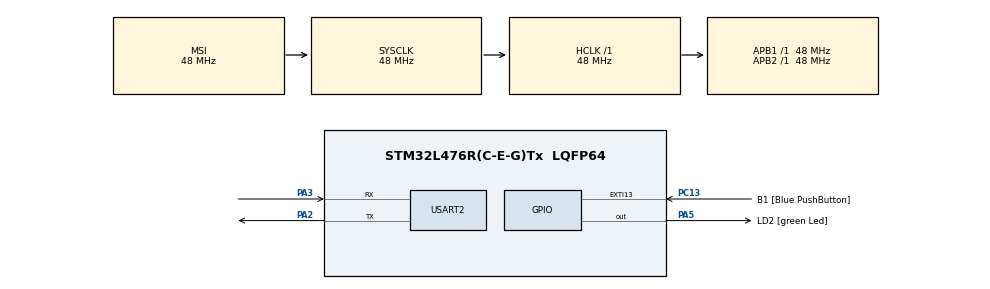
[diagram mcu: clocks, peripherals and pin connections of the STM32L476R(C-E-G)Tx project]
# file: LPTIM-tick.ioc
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FREERTOS.INCLUDE_vTaskDelayUntil=1
FREERTOS.Tasks01=mainTask,0,256,mainOsTask,Default,NULL,Dynamic,NULL,NULL
FREERTOS.Timers01=ledTimer,ledTimerCallback,osTimerPeriodic,Default,NULL,Dynamic,NULL;resultsTimer,resultsTimerCallback,osTimerPeriodic,Default,NULL,Dynamic,NULL
FREERTOS.configCHECK_FOR_STACK_OVERFLOW=2
FREERTOS.configTIMER_TASK_PRIORITY=6
FREERTOS.configUSE_MALLOC_FAILED_HOOK=1
FREERTOS.configUSE_TICKLESS_IDLE=2
FREERTOS.configUSE_TICK_HOOK=1
FREERTOS.configUSE_TIMERS=1
Mcu.Family=STM32L4
Mcu.Name=STM32L476R(C-E-G)Tx
Mcu.Package=LQFP64
NVIC.EXTI15_10_IRQn=true\:15\:0\:true\:false\:true\:true\:true\:true\:true
NVIC.LPTIM2_IRQn=true\:15\:0\:true\:false\:true\:true\:true\:true\:true
NVIC.PriorityGroup=NVIC_PRIORITYGROUP_4
NVIC.TIM1_TRG_COM_TIM17_IRQn=true\:0\:0\:false\:false\:true\:false\:false\:true\:true
NVIC.TimeBase=TIM1_TRG_COM_TIM17_IRQn
NVIC.TimeBaseIP=TIM17
NVIC.USART2_IRQn=true\:15\:0\:true\:false\:true\:true\:true\:true\:true
PA13\ (JTMS-SWDIO).GPIO_Label=TMS
PA13\ (JTMS-SWDIO).Mode=Serial_Wire
PA13\ (JTMS-SWDIO).Signal=SYS_JTMS-SWDIO
PA14\ (JTCK-SWCLK).GPIO_Label=TCK
PA14\ (JTCK-SWCLK).Mode=Serial_Wire
PA14\ (JTCK-SWCLK).Signal=SYS_JTCK-SWCLK
PA2.Mode=Asynchronous
PA2.Signal=USART2_TX
PA3.Mode=Asynchronous
PA3.Signal=USART2_RX
PA5.GPIO_Label=LD2 [green Led]
PA5.GPIO_ModeDefaultOutputPP=GPIO_MODE_OUTPUT_PP
PA5.GPIO_PuPd=GPIO_NOPULL
PA5.GPIO_Speed=GPIO_SPEED_FREQ_LOW
PA5.Signal=GPIO_Output
PB3\ (JTDO-TRACESWO).GPIO_Label=SWO
PB3\ (JTDO-TRACESWO).Signal=SYS_JTDO-SWO
PC13.GPIO_Label=B1 [Blue PushButton]
PC13.GPIO_ModeDefaultEXTI=GPIO_MODE_IT_FALLING
PC13.GPIO_PuPd=GPIO_NOPULL
PC13.Signal=GPXTI13
PC14-OSC32_IN\ (PC14).Mode=LSE-External-Oscillator
PC14-OSC32_IN\ (PC14).Signal=RCC_OSC32_IN
PC15-OSC32_OUT\ (PC15).Mode=LSE-External-Oscillator
PC15-OSC32_OUT\ (PC15).Signal=RCC_OSC32_OUT
PH0-OSC_IN\ (PH0).Signal=RCC_OSC_IN
PH1-OSC_OUT\ (PH1).Signal=RCC_OSC_OUT
ProjectManager.HeapSize=0x200
ProjectManager.StackSize=0x400
ProjectManager.TargetToolchain=STM32CubeIDE
RCC.ADCFreq_Value=64000000
RCC.AHBFreq_Value=48000000
RCC.APB1Freq_Value=48000000
RCC.APB1TimFreq_Value=48000000
RCC.APB2Freq_Value=48000000
RCC.APB2TimFreq_Value=48000000
RCC.CortexFreq_Value=48000000
RCC.HCLKFreq_Value=48000000
RCC.HSE_VALUE=8000000
RCC.HSI_VALUE=16000000
RCC.LPTIM1CLockSelection=RCC_LPTIM1CLKSOURCE_LSE
RCC.LPTIM2CLockSelection=RCC_LPTIM2CLKSOURCE_LSE
RCC.MSIClockRange=RCC_MSIRANGE_11
RCC.MSI_VALUE=48000000
RCC.PLLN=10
RCC.PLLSourceVirtual=RCC_PLLSOURCE_HSI
RCC.PREFETCH_ENABLE=1
RCC.RTCClockSelection=RCC_RTCCLKSOURCE_LSE
RCC.SYSCLKFreq_VALUE=48000000
RCC.USART2CLockSelection=RCC_USART2CLKSOURCE_HSI
RCC.USBFreq_Value=64000000
RCC.VCOOutputFreq_Value=160000000
RTC.AsynchPrediv=3
RTC.SynchPrediv=8191
USART2.VirtualMode-Asynchronous=VM_ASYNC
VP_FREERTOS_VS_CMSIS_V1.Mode=CMSIS_V1
VP_LPTIM2_VS_LPTIM_counterModeInternalClock.Mode=Counts__internal_clock_event_00
VP_RTC_VS_RTC_Activate.Mode=RTC_Enabled
VP_SYS_VS_tim17.Mode=TIM17
board=NUCLEO-L476RG

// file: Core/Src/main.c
/* USER CODE BEGIN Header */
/**
  ******************************************************************************
  * @file           : main.c
  * @brief          : Main program body
  ******************************************************************************
  * @attention
  *
  * <h2><center>&copy; Copyright (c) 2021 STMicroelectronics.
  * All rights reserved.</center></h2>
  *
  * This software component is licensed by ST under BSD 3-Clause license,
  * the "License"; You may not use this file except in compliance with the
  * License. You may obtain a copy of the License at:
  *                        opensource.org/licenses/BSD-3-Clause
  *
  ******************************************************************************
  */
/* USER CODE END Header */
#include "main.h"
#include "cmsis_os.h"

/* USER CODE BEGIN Includes */

#include <stdio.h>
#include <string.h>
#include "testTickTiming.h"
#include "ulp.h"

/* USER CODE END Includes */

/* USER CODE BEGIN PD */
#define NOTIFICATION_FLAG_B1_PIN    (1UL << 0)
#define NOTIFICATION_FLAG_LED_BLIP  (1UL << 1)
#define NOTIFICATION_FLAG_RESULTS   (1UL << 2)
/* USER CODE END PD */

LPTIM_HandleTypeDef hlptim2;

RTC_HandleTypeDef hrtc;

UART_HandleTypeDef huart2;

osThreadId mainTaskHandle;
osTimerId ledTimerHandle;
osTimerId resultsTimerHandle;

void SystemClock_Config(void);
static void MX_GPIO_Init(void);
static void MX_USART2_UART_Init(void);
static void MX_RTC_Init(void);
static void MX_LPTIM2_Init(void);
void mainOsTask(void const * argument);
void ledTimerCallback(void const * argument);
void resultsTimerCallback(void const * argument);

/* USER CODE BEGIN 0 */
#define DEMO_STATE_TEST_1  0
#define DEMO_STATE_TEST_2  1
#define DEMO_STATE_TEST_3  2
#define MAX_DEMO_STATE     DEMO_STATE_TEST_3
static void vSetDemoState( BaseType_t state )
{
   //      Assume for now that we're activating a demo state that doesn't need LPTIM2, our stress-test actor.
   //
   if (LPTIM2->CR & LPTIM_CR_ENABLE)
   {
      HAL_LPTIM_Counter_Stop_IT(&hlptim2);
      vUlpOnPeripheralsInactive(ulpPERIPHERAL_LPTIM2);
   }

   uint32_t ledIntervalMs = 0;
   if (state == DEMO_STATE_TEST_1)
   {
      //      Demonstrate minimum energy consumption.  With configUSE_TICKLESS_IDLE == 2 (lptimTick.c), we
      // draw only 2uA, with RTC, and with FreeRTOS timers/timeouts/delays active.
      //
      ledIntervalMs = 5000UL;
      vTttSetEvalInterval( portMAX_DELAY );
      osTimerStop(resultsTimerHandle);
   }
   else if (state == DEMO_STATE_TEST_2)
   {
      //      Instruct the tick-timing test to sample the tick timing every 10 milliseconds.  Sampling faster
      // would require that we open the pass/fail criteria to accommodate a couple hundred microseconds of
      // jitter or tick "jump" since that criteria is expressed as a percentage of the sampling interval.
      // Sampling much slower might allow large jitter or "jump" that should be caught as an error, again
      // because jitter is measured as a percentage of the sampling interval.
      //
      #define TICK_TEST_SAMPLING_INTERVAL_MS 10

      //      Demonstrate energy consumption waking every 10ms, and test the tick timing.
      //
      ledIntervalMs = 2000UL;
      vTttSetEvalInterval( pdMS_TO_TICKS(TICK_TEST_SAMPLING_INTERVAL_MS) );
      osTimerStart(resultsTimerHandle, 1000UL);
   }
   else if (state == DEMO_STATE_TEST_3)
   {
      //      In state 2, add an actor to stress the tick timing.  Use LPTIM2 interrupts since that timer
      // keeps operating in STOP 1 mode, which allows us to keep demonstrating low-power operation.
      //
      //      Carefully select the interval of the nuisance interrupts to be slightly longer than the tick-
      // test sampling interval.  The sampling interval drives the "expected idle time" in the tickless logic,
      // so a nuisance interval slightly longer ensures lots of different interrupt timing, including some
      // tickless periods lasting the full expected idle time.  For example, with a 10ms sampling interval,
      // there are 327.68 LSE cycles between samplings, on average.  The code below would set up the nuisance
      // interrupt to be every 328 LSE cycles for that case.  (The value passed to the HAL is 327, but the
      // period ends up being 328 due to LPTIM reload behavior.)
      //
      //      Based on the discussion above, a good long soak test is strongly recommended here.
      //
      vUlpOnPeripheralsActive(ulpPERIPHERAL_LPTIM2);
      HAL_LPTIM_Counter_Start_IT(&hlptim2, (TICK_TEST_SAMPLING_INTERVAL_MS * LSE_VALUE) / 1000U);

      ledIntervalMs = 1000UL;
      vTttSetEvalInterval( pdMS_TO_TICKS(TICK_TEST_SAMPLING_INTERVAL_MS) );
      osTimerStart(resultsTimerHandle, 1000UL);
   }
   else
   {
      configASSERT(0);
   }

   if (ledIntervalMs != 0)
   {
      osTimerStart(ledTimerHandle, ledIntervalMs);
      xTaskNotify(mainTaskHandle, NOTIFICATION_FLAG_LED_BLIP, eSetBits);
   }

   char banner[100];
   int len = sprintf(banner, "\r\n\r\nRunning Test %d.", (int)state + 1);
   if (state != DEMO_STATE_TEST_1)
   {
      len += sprintf(&banner[len], "  Jumps are shown as %% of %d ms.\r\n",
                     TICK_TEST_SAMPLING_INTERVAL_MS);
   }
   HAL_UART_Transmit(&huart2, (uint8_t*)banner, len, HAL_MAX_DELAY);
}

static int lDescribeTickTestResults(TttResults_t* results, int periodNumber, char* dest)
{
   int durationSeconds = (results->durationSs + results->subsecondsPerSecond/2) / results->subsecondsPerSecond;
   return (sprintf(dest, "Period %d: %d s, drift: %d/%d s, jump: %+d%% (min), %+d%% (max)",
                   periodNumber,
                   durationSeconds,
                   (int)results->driftSs, (int) results->subsecondsPerSecond,
                   results->minDriftRatePct,
                   results->maxDriftRatePct));
}

static BaseType_t xUpdateResults( int xDemoState )
{
   static int resultsCount = 0;

   TttResults_t complete, inProgress;
   vTttGetResults(&complete, &inProgress);

   //      Build the results text here.  Use a "large" buffer because the results might require two lines of
   // terminal output.  The buffer is static so its contents remain valid even after we return from this
   // function.  In turn this allows us to return to our caller without waiting for the UART to finish.
   //
   static char textResults[200];
   static const char* const eraseLine = "\r\x1B[K";
   int resultsLen = sprintf(textResults, "%s", eraseLine);

   if (resultsCount != complete.resultsCounter)
   {
      resultsCount = complete.resultsCounter;
      if (resultsCount != 0)
      {
         resultsLen += lDescribeTickTestResults(&complete, resultsCount, &textResults[resultsLen]);
         resultsLen += sprintf(&textResults[resultsLen], "\r\n");
      }
   }

   resultsLen += lDescribeTickTestResults(&inProgress, resultsCount + 1, &textResults[resultsLen]);

   //      Send the results to the terminal.  In test 3, use interrupt-driven I/O with the terminal as
   // a way to enhance the stress test.  The interrupts induce a rapid sequence of early wake-ups from
   // tickless idle (if enabled).  This barrage of early wake-ups is a great stress test for the tickless
   // logic.  In the other demo states, use busy-wait I/O to avoid adding a test actor when we don't want one.
   //
   if (xDemoState == DEMO_STATE_TEST_3)
   {
      vUlpOnPeripheralsActive(ulpPERIPHERAL_USART2);
      HAL_UART_Transmit_IT(&huart2, (uint8_t*)textResults, resultsLen);
   }
   else
   {
      //      Because busy-wait I/O keeps this task "ready", it also prevents tickless idle, so we don't need
      // to bother notifying the ULP driver that the UART peripheral is active.
      //
      // vUlpOnPeripheralsActive(ulpPERIPHERAL_USART2);
      HAL_UART_Transmit(&huart2, (uint8_t*)textResults, resultsLen, HAL_MAX_DELAY);
      // vUlpOnPeripheralsInactive(ulpPERIPHERAL_USART2);
   }

   //      Apply some pass/fail criteria and report any failures.
   //
   BaseType_t isFailure = pdFALSE;
   if (inProgress.minDriftRatePct < -2 || inProgress.maxDriftRatePct > 2)
   {
      isFailure = pdTRUE;
   }

   return (isFailure);
}

void HAL_UART_TxCpltCallback(UART_HandleTypeDef *huart)
{
   vUlpOnPeripheralsInactiveFromISR(ulpPERIPHERAL_USART2);
}

void vBlipLed( uint32_t ms )
{
   HAL_GPIO_WritePin(LD2_GPIO_Port, LD2_Pin, GPIO_PIN_SET);
   osDelay(ms);
   HAL_GPIO_WritePin(LD2_GPIO_Port, LD2_Pin, GPIO_PIN_RESET);
}
/* USER CODE END 0 */

int main(void)
{

  /* MCU Configuration--------------------------------------------------------*/

  /* Reset of all peripherals, Initializes the Flash interface and the Systick. */
  HAL_Init();

  /* USER CODE BEGIN Init */

  //      Compensate for a CubeMX omission in HAL_InitTick() in stm32l4xx_hal_timebase_tim.c.
  //
  uwTickPrio = TICK_INT_PRIORITY;

  /* USER CODE END Init */

  /* Configure the system clock */
  SystemClock_Config();

  /* USER CODE BEGIN SysInit */

  // Integrate lptimTick.c -- Start of Block
  //
  //      Code in lptimTick.c expects LSE or LSI to be configured and started by the application code.  This
  // RCC code starts the LSE, but it is commented out because this demo application uses the RTC, so CubeMX
  // already generates the code we need to start LSE.  See SystemClock_Config().
  //
  //  RCC_OscInitTypeDef RCC_OscInitStruct = {0};
  //  RCC_OscInitStruct.OscillatorType = RCC_OSCILLATORTYPE_LSE;
  //  RCC_OscInitStruct.LSEState = RCC_LSE_ON;
  //  RCC_OscInitStruct.PLL.PLLState = RCC_PLL_NONE;
  //  if (HAL_RCC_OscConfig(&RCC_OscInitStruct) != HAL_OK)
  //  {
  //    Error_Handler();
  //  }
  //
  // Integrate lptimTick.c -- End of Block

  //      Initialize Ultra-Low Power support (ULP).
  //
  vUlpInit();

  #if (configUSE_TICKLESS_IDLE != 2)
  {
    //      The tick-timing tests make more accurate evaluations of the tick timing when FreeRTOS has the best
    // possible value in configCPU_CLOCK_HZ.  Since CubeMX defines that symbol as SystemCoreClock, we update
    // SystemCoreClock here.  This code helped us "prove" that the MSI PLL behaves like a real PLL (albeit a
    // very jittery one).  There's "no" tick drift as measured by the RTC when tickless idle is disabled and
    // the MSI is in PLL mode driving the core clock.
    //
    //      We don't care if the HAL reverts this change at some point later during the application execution.
    // We only want this updated value to endure long enough for FreeRTOS startup code to use it to calculate
    // the tick timing.
    //
    if (RCC->CR & RCC_CR_MSIPLLEN)  // App Specific.  Assumes MSIPLLEN being set means MSI is the core clock.
    {
      int pllModeMultiplier = ( SystemCoreClock + (LSE_VALUE/2) ) / LSE_VALUE;
      SystemCoreClock = LSE_VALUE * pllModeMultiplier;
    }
  }
  #endif

  /* USER CODE END SysInit */

  /* Initialize all configured peripherals */
  MX_GPIO_Init();
  MX_USART2_UART_Init();
  MX_RTC_Init();
  MX_LPTIM2_Init();
  /* USER CODE BEGIN 2 */

  //      If the user is currently holding the blue button down, clear DBGMCU->CR.  This step prevents the
  // debugger from keeping clocks and regulators running when we use a low-power mode.  This in turn allows
  // the user to observe the "true" impact of low-power modes on current consumption.  Note that the debugger
  // will lose its connection as soon as we use a low-power mode, but we don't have any choice if we want to
  // see "true" current consumption.
  //
  if ( HAL_GPIO_ReadPin(B1_GPIO_Port, B1_Pin) == GPIO_PIN_RESET )
  {
     DBGMCU->CR = 0; // POR and BOR also clear this register, but not the reset pin, and not other resets.
  }

  /* USER CODE END 2 */

  /* Create the timer(s) */
  /* definition and creation of ledTimer */
  osTimerDef(ledTimer, ledTimerCallback);
  ledTimerHandle = osTimerCreate(osTimer(ledTimer), osTimerPeriodic, NULL);

  /* definition and creation of resultsTimer */
  osTimerDef(resultsTimer, resultsTimerCallback);
  resultsTimerHandle = osTimerCreate(osTimer(resultsTimer), osTimerPeriodic, NULL);

  /* Create the thread(s) */
  /* definition and creation of mainTask */
  osThreadDef(mainTask, mainOsTask, osPriorityNormal, 0, 256);
  mainTaskHandle = osThreadCreate(osThread(mainTask), NULL);

  /* USER CODE BEGIN RTOS_THREADS */

  osThreadDef(tickTest, vTttOsTask, osPriorityAboveNormal, 0, configMINIMAL_STACK_SIZE);
  osThreadCreate(osThread(tickTest), &hrtc);

  /* USER CODE END RTOS_THREADS */

  /* Start scheduler */
  osKernelStart();

  /* We should never get here as control is now taken by the scheduler */

  /* Infinite loop */
  while (1)
  {

  }
}

void SystemClock_Config(void)
{
  RCC_OscInitTypeDef RCC_OscInitStruct = {0};
  RCC_ClkInitTypeDef RCC_ClkInitStruct = {0};

  /** Configure the main internal regulator output voltage
  */
  if (HAL_PWREx_ControlVoltageScaling(PWR_REGULATOR_VOLTAGE_SCALE1) != HAL_OK)
  {
    Error_Handler();
  }

  /** Configure LSE Drive Capability
  */
  HAL_PWR_EnableBkUpAccess();
  __HAL_RCC_LSEDRIVE_CONFIG(RCC_LSEDRIVE_LOW);

  /** Initializes the RCC Oscillators according to the specified parameters
  * in the RCC_OscInitTypeDef structure.
  */
  RCC_OscInitStruct.OscillatorType = RCC_OSCILLATORTYPE_HSI|RCC_OSCILLATORTYPE_LSE
                              |RCC_OSCILLATORTYPE_MSI;
  RCC_OscInitStruct.LSEState = RCC_LSE_ON;
  RCC_OscInitStruct.HSIState = RCC_HSI_ON;
  RCC_OscInitStruct.HSICalibrationValue = RCC_HSICALIBRATION_DEFAULT;
  RCC_OscInitStruct.MSIState = RCC_MSI_ON;
  RCC_OscInitStruct.MSICalibrationValue = 0;
  RCC_OscInitStruct.MSIClockRange = RCC_MSIRANGE_11;
  RCC_OscInitStruct.PLL.PLLState = RCC_PLL_NONE;
  if (HAL_RCC_OscConfig(&RCC_OscInitStruct) != HAL_OK)
  {
    Error_Handler();
  }

  /** Initializes the CPU, AHB and APB buses clocks
  */
  RCC_ClkInitStruct.ClockType = RCC_CLOCKTYPE_HCLK|RCC_CLOCKTYPE_SYSCLK
                              |RCC_CLOCKTYPE_PCLK1|RCC_CLOCKTYPE_PCLK2;
  RCC_ClkInitStruct.SYSCLKSource = RCC_SYSCLKSOURCE_MSI;
  RCC_ClkInitStruct.AHBCLKDivider = RCC_SYSCLK_DIV1;
  RCC_ClkInitStruct.APB1CLKDivider = RCC_HCLK_DIV1;
  RCC_ClkInitStruct.APB2CLKDivider = RCC_HCLK_DIV1;

  if (HAL_RCC_ClockConfig(&RCC_ClkInitStruct, FLASH_LATENCY_2) != HAL_OK)
  {
    Error_Handler();
  }

  /** Enable MSI Auto calibration
  */
  HAL_RCCEx_EnableMSIPLLMode();
}

static void MX_LPTIM2_Init(void)
{

  hlptim2.Instance = LPTIM2;
  hlptim2.Init.Clock.Source = LPTIM_CLOCKSOURCE_APBCLOCK_LPOSC;
  hlptim2.Init.Clock.Prescaler = LPTIM_PRESCALER_DIV1;
  hlptim2.Init.Trigger.Source = LPTIM_TRIGSOURCE_SOFTWARE;
  hlptim2.Init.OutputPolarity = LPTIM_OUTPUTPOLARITY_HIGH;
  hlptim2.Init.UpdateMode = LPTIM_UPDATE_IMMEDIATE;
  hlptim2.Init.CounterSource = LPTIM_COUNTERSOURCE_INTERNAL;
  hlptim2.Init.Input1Source = LPTIM_INPUT1SOURCE_GPIO;
  hlptim2.Init.Input2Source = LPTIM_INPUT2SOURCE_GPIO;
  if (HAL_LPTIM_Init(&hlptim2) != HAL_OK)
  {
    Error_Handler();
  }

}

static void MX_RTC_Init(void)
{

  /** Initialize RTC Only
  */
  hrtc.Instance = RTC;
  hrtc.Init.HourFormat = RTC_HOURFORMAT_24;
  hrtc.Init.AsynchPrediv = 3;
  hrtc.Init.SynchPrediv = 8191;
  hrtc.Init.OutPut = RTC_OUTPUT_DISABLE;
  hrtc.Init.OutPutRemap = RTC_OUTPUT_REMAP_NONE;
  hrtc.Init.OutPutPolarity = RTC_OUTPUT_POLARITY_HIGH;
  hrtc.Init.OutPutType = RTC_OUTPUT_TYPE_OPENDRAIN;
  if (HAL_RTC_Init(&hrtc) != HAL_OK)
  {
    Error_Handler();
  }

}

static void MX_USART2_UART_Init(void)
{

  huart2.Instance = USART2;
  huart2.Init.BaudRate = 115200;
  huart2.Init.WordLength = UART_WORDLENGTH_8B;
  huart2.Init.StopBits = UART_STOPBITS_1;
  huart2.Init.Parity = UART_PARITY_NONE;
  huart2.Init.Mode = UART_MODE_TX_RX;
  huart2.Init.HwFlowCtl = UART_HWCONTROL_NONE;
  huart2.Init.OverSampling = UART_OVERSAMPLING_16;
  huart2.Init.OneBitSampling = UART_ONE_BIT_SAMPLE_DISABLE;
  huart2.AdvancedInit.AdvFeatureInit = UART_ADVFEATURE_NO_INIT;
  if (HAL_UART_Init(&huart2) != HAL_OK)
  {
    Error_Handler();
  }

}

static void MX_GPIO_Init(void)
{
  GPIO_InitTypeDef GPIO_InitStruct = {0};

  /* GPIO Ports Clock Enable */
  __HAL_RCC_GPIOC_CLK_ENABLE();
  __HAL_RCC_GPIOH_CLK_ENABLE();
  __HAL_RCC_GPIOA_CLK_ENABLE();
  __HAL_RCC_GPIOB_CLK_ENABLE();

  /*Configure GPIO pin Output Level */
  HAL_GPIO_WritePin(LD2_GPIO_Port, LD2_Pin, GPIO_PIN_RESET);

  /*Configure GPIO pin : B1_Pin */
  GPIO_InitStruct.Pin = B1_Pin;
  GPIO_InitStruct.Mode = GPIO_MODE_IT_FALLING;
  GPIO_InitStruct.Pull = GPIO_NOPULL;
  HAL_GPIO_Init(B1_GPIO_Port, &GPIO_InitStruct);

  /*Configure GPIO pin : LD2_Pin */
  GPIO_InitStruct.Pin = LD2_Pin;
  GPIO_InitStruct.Mode = GPIO_MODE_OUTPUT_PP;
  GPIO_InitStruct.Pull = GPIO_NOPULL;
  GPIO_InitStruct.Speed = GPIO_SPEED_FREQ_LOW;
  HAL_GPIO_Init(LD2_GPIO_Port, &GPIO_InitStruct);

  /* EXTI interrupt init*/
  HAL_NVIC_SetPriority(EXTI15_10_IRQn, 15, 0);
  HAL_NVIC_EnableIRQ(EXTI15_10_IRQn);

}

/* USER CODE BEGIN 4 */

void HAL_GPIO_EXTI_Callback(uint16_t GPIO_Pin)
{
   if (GPIO_Pin == B1_Pin)
   {
      //      Don't attempt to notify a task that isn't yet created.  Drop the button press instead.
      //
      if ( mainTaskHandle != NULL )
      {
         BaseType_t xWasHigherPriorityTaskWoken = pdFALSE;
         xTaskNotifyFromISR( mainTaskHandle, NOTIFICATION_FLAG_B1_PIN, eSetBits, &xWasHigherPriorityTaskWoken);
         portYIELD_FROM_ISR(xWasHigherPriorityTaskWoken);
      }
   }
}

void HAL_LPTIM_AutoReloadMatchCallback(LPTIM_HandleTypeDef *hlptim)
{
   //      The HAL calls this function when LPTIM2 has an ARR match event.  We use LPTIM2 as a stress-test
   // actor during test state 2.  This function has nothing to do with lptimTick.c or LPTIM1, but it does
   // help us *test* the tick timing provided by that code and that timer.

   //      Wake the main task, but for no reason.  We're just trying to stress test the tick timing.
   //
   BaseType_t xWasHigherPriorityTaskWoken = pdFALSE;
   xTaskNotifyFromISR( mainTaskHandle, 0, eNoAction, &xWasHigherPriorityTaskWoken);
   portYIELD_FROM_ISR(xWasHigherPriorityTaskWoken);
}

/* USER CODE END 4 */

void mainOsTask(void const * argument)
{
  /* USER CODE BEGIN 5 */

   //      Stop the timer that provides the HAL tick.  Now it won't needlessly interrupt tickless idle periods
   // that use sleep mode.  (The HAL tick already can't interrupt tickless idle periods that use stop mode,
   // because the HAL timer doesn't operate in stop mode.)  In a real application, the HAL tick might be
   // required by the HAL even after FreeRTOS has control.  It's still best to stop the timer here, and then
   // define HAL_GetTick() and HAL_Delay() to use the FreeRTOS tick (and delay) once available.
   //
   //      We don't call HAL_SuspendTick() here because that function leaves TIM17 enabled and running for no
   // reason.
   //
   TIM17->CR1 &= ~TIM_CR1_CEN;  // wish CubeMX would generate a symbol for the HAL tick timer

   //      Be sure LPTIM2 ignores its input clock when the debugger stops program execution.
   //
   taskDISABLE_INTERRUPTS();
   DBGMCU->APB1FZR2 |= DBGMCU_APB1FZR2_DBG_LPTIM2_STOP;
   taskENABLE_INTERRUPTS();

   //      Start the demo on test 1.
   //
   BaseType_t xDemoState = DEMO_STATE_TEST_1;
   vSetDemoState(xDemoState);

   int isFailureDetected = pdFALSE;
   uint32_t notificationFlags;
   for(;;)
   {
      //      Wait forever for any notification.
      //
      xTaskNotifyWait(0, UINT32_MAX, &notificationFlags, portMAX_DELAY);

      if (notificationFlags & NOTIFICATION_FLAG_B1_PIN)
      {
         //      Advance the demo state in response to the button press.  Clear any previous test failures.
         //
         if (++xDemoState > MAX_DEMO_STATE )
         {
            xDemoState = DEMO_STATE_TEST_1;
         }

         vSetDemoState(xDemoState);

         isFailureDetected = pdFALSE;
      }

      if (notificationFlags & NOTIFICATION_FLAG_RESULTS)
      {
         //      Make failure detections "sticky" so an observer can rely on the LED even for past failures.
         // We clear past failures when we advance the demo state above (for a button press).
         //
         if (xUpdateResults( xDemoState ))
         {
            isFailureDetected = pdTRUE;
         }
      }

      if (notificationFlags & NOTIFICATION_FLAG_LED_BLIP)
      {
         //      Blip the LED for 100ms.  Blip twice if the test has failed.
         //
         vBlipLed(100UL);
         if (isFailureDetected)
         {
            osDelay(100UL);
            vBlipLed(100UL);
         }
      }
  }
  /* USER CODE END 5 */
}

/* ledTimerCallback function */
void ledTimerCallback(void const * argument)
{
  /* USER CODE BEGIN ledTimerCallback */
   UNUSED(argument);

   if ( mainTaskHandle != NULL )
   {
      xTaskNotify( mainTaskHandle, NOTIFICATION_FLAG_LED_BLIP, eSetBits );
   }

  /* USER CODE END ledTimerCallback */
}

/* resultsTimerCallback function */
void resultsTimerCallback(void const * argument)
{
  /* USER CODE BEGIN resultsTimerCallback */
   UNUSED(argument);

   if ( mainTaskHandle != NULL )
   {
      xTaskNotify( mainTaskHandle, NOTIFICATION_FLAG_RESULTS, eSetBits );
   }

  /* USER CODE END resultsTimerCallback */
}

void HAL_TIM_PeriodElapsedCallback(TIM_HandleTypeDef *htim)
{
  if (htim->Instance == TIM17) {
    HAL_IncTick();
  }
}

void Error_Handler(void)
{
  __disable_irq();
  while (1)
  {
  }
}

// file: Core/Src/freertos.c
/* USER CODE BEGIN Header */
/**
  ******************************************************************************
  * File Name          : freertos.c
  * Description        : Code for freertos applications
  ******************************************************************************
  * @attention
  *
  * <h2><center>&copy; Copyright (c) 2021 STMicroelectronics.
  * All rights reserved.</center></h2>
  *
  * This software component is licensed by ST under Ultimate Liberty license
  * SLA0044, the "License"; You may not use this file except in compliance with
  * the License. You may obtain a copy of the License at:
  *                             www.st.com/SLA0044
  *
  ******************************************************************************
  */
/* USER CODE END Header */

#include "FreeRTOS.h"
#include "task.h"
#include "main.h"

/* GetIdleTaskMemory prototype (linked to static allocation support) */
void vApplicationGetIdleTaskMemory( StaticTask_t **ppxIdleTaskTCBBuffer, StackType_t **ppxIdleTaskStackBuffer, uint32_t *pulIdleTaskStackSize );

/* GetTimerTaskMemory prototype (linked to static allocation support) */
void vApplicationGetTimerTaskMemory( StaticTask_t **ppxTimerTaskTCBBuffer, StackType_t **ppxTimerTaskStackBuffer, uint32_t *pulTimerTaskStackSize );

/* Hook prototypes */
void vApplicationTickHook(void);
void vApplicationStackOverflowHook(xTaskHandle xTask, char *pcTaskName);
void vApplicationMallocFailedHook(void);

/* USER CODE BEGIN 3 */
__weak void vApplicationTickHook( void )
{
   /* This function will be called by each tick interrupt if
   configUSE_TICK_HOOK is set to 1 in FreeRTOSConfig.h. User code can be
   added here, but the tick hook is called from an interrupt context, so
   code must not attempt to block, and only the interrupt safe FreeRTOS API
   functions can be used (those that end in FromISR()). */
}
/* USER CODE END 3 */

/* USER CODE BEGIN 4 */
__weak void vApplicationStackOverflowHook(xTaskHandle xTask, char *pcTaskName)
{
   /* Run time stack overflow checking is performed if
   configCHECK_FOR_STACK_OVERFLOW is defined to 1 or 2. This hook function is
   called if a stack overflow is detected. */
}
/* USER CODE END 4 */

/* USER CODE BEGIN 5 */
__weak void vApplicationMallocFailedHook(void)
{
   /* vApplicationMallocFailedHook() will only be called if
   configUSE_MALLOC_FAILED_HOOK is set to 1 in FreeRTOSConfig.h. It is a hook
   function that will get called if a call to pvPortMalloc() fails.
   pvPortMalloc() is called internally by the kernel whenever a task, queue,
   timer or semaphore is created. It is also called by various parts of the
   demo application. If heap_1.c or heap_2.c are used, then the size of the
   heap available to pvPortMalloc() is defined by configTOTAL_HEAP_SIZE in
   FreeRTOSConfig.h, and the xPortGetFreeHeapSize() API function can be used
   to query the size of free heap space that remains (although it does not
   provide information on how the remaining heap might be fragmented). */
}
/* USER CODE END 5 */

/* USER CODE BEGIN GET_IDLE_TASK_MEMORY */
static StaticTask_t xIdleTaskTCBBuffer;
static StackType_t xIdleStack[configMINIMAL_STACK_SIZE];

void vApplicationGetIdleTaskMemory( StaticTask_t **ppxIdleTaskTCBBuffer, StackType_t **ppxIdleTaskStackBuffer, uint32_t *pulIdleTaskStackSize )
{
  *ppxIdleTaskTCBBuffer = &xIdleTaskTCBBuffer;
  *ppxIdleTaskStackBuffer = &xIdleStack[0];
  *pulIdleTaskStackSize = configMINIMAL_STACK_SIZE;
  /* place for user code */
}
/* USER CODE END GET_IDLE_TASK_MEMORY */

/* USER CODE BEGIN GET_TIMER_TASK_MEMORY */
static StaticTask_t xTimerTaskTCBBuffer;
static StackType_t xTimerStack[configTIMER_TASK_STACK_DEPTH];

void vApplicationGetTimerTaskMemory( StaticTask_t **ppxTimerTaskTCBBuffer, StackType_t **ppxTimerTaskStackBuffer, uint32_t *pulTimerTaskStackSize )
{
  *ppxTimerTaskTCBBuffer = &xTimerTaskTCBBuffer;
  *ppxTimerTaskStackBuffer = &xTimerStack[0];
  *pulTimerTaskStackSize = configTIMER_TASK_STACK_DEPTH;
  /* place for user code */
}
/* USER CODE END GET_TIMER_TASK_MEMORY */
